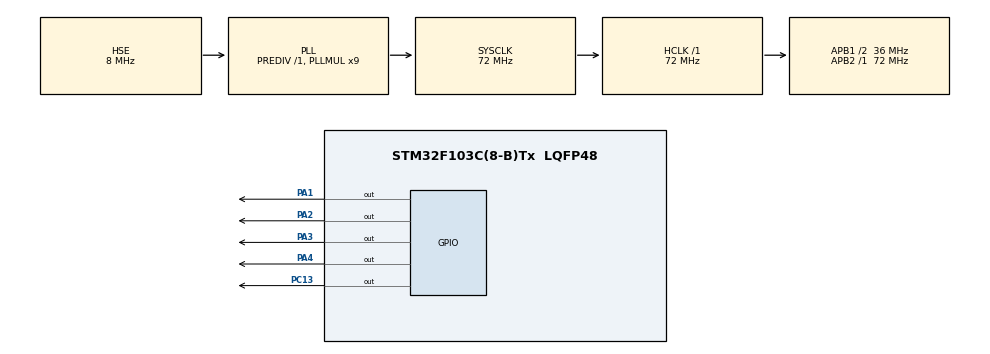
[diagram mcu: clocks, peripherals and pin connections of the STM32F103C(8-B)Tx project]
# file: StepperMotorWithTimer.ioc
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Mcu.Family=STM32F1
Mcu.Name=STM32F103C(8-B)Tx
Mcu.Package=LQFP48
NVIC.PriorityGroup=NVIC_PRIORITYGROUP_4
PA1.GPIO_Speed=GPIO_SPEED_FREQ_HIGH
PA1.Signal=GPIO_Output
PA13.Mode=Serial_Wire
PA13.Signal=SYS_JTMS-SWDIO
PA14.Mode=Serial_Wire
PA14.Signal=SYS_JTCK-SWCLK
PA2.GPIO_Speed=GPIO_SPEED_FREQ_HIGH
PA2.Signal=GPIO_Output
PA3.GPIO_Speed=GPIO_SPEED_FREQ_HIGH
PA3.Signal=GPIO_Output
PA4.GPIO_Speed=GPIO_SPEED_FREQ_HIGH
PA4.Signal=GPIO_Output
PC13-TAMPER-RTC.Signal=GPIO_Output
PD0-OSC_IN.Mode=HSE-External-Oscillator
PD0-OSC_IN.Signal=RCC_OSC_IN
PD1-OSC_OUT.Mode=HSE-External-Oscillator
PD1-OSC_OUT.Signal=RCC_OSC_OUT
ProjectManager.HeapSize=0x200
ProjectManager.StackSize=0x400
ProjectManager.TargetToolchain=STM32CubeIDE
RCC.AHBFreq_Value=72000000
RCC.APB1CLKDivider=RCC_HCLK_DIV2
RCC.APB1Freq_Value=36000000
RCC.APB1TimFreq_Value=72000000
RCC.APB2Freq_Value=72000000
RCC.APB2TimFreq_Value=72000000
RCC.HCLKFreq_Value=72000000
RCC.PLLMUL=RCC_PLL_MUL9
RCC.PLLSourceVirtual=RCC_PLLSOURCE_HSE
RCC.SYSCLKFreq_VALUE=72000000
RCC.SYSCLKSource=RCC_SYSCLKSOURCE_PLLCLK
RCC.USBFreq_Value=72000000
TIM1.Period=0xffff-1
TIM1.Prescaler=72-1
VP_TIM1_VS_ClockSourceINT.Mode=Internal
board=custom

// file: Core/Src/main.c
/* USER CODE BEGIN Header */
/**
  ******************************************************************************
  * @file           : main.c
  * @brief          : Main program body
  ******************************************************************************
  * @attention
  *
  * Copyright (c) 2025 STMicroelectronics.
  * All rights reserved.
  *
  * This software is licensed under terms that can be found in the LICENSE file
  * in the root directory of this software component.
  * If no LICENSE file comes with this software, it is provided AS-IS.
  *
  ******************************************************************************
  */
/* USER CODE END Header */
#include "main.h"

/* USER CODE BEGIN PD */
#define STEPS_PER_REV 4096  /**< Número de pasos por revolución del motor paso a paso */
#define CLOCKWISE 0
#define COUNTER_CLOCKWISE 1
/* USER CODE END PD */

TIM_HandleTypeDef htim1;

void SystemClock_Config(void);
static void MX_GPIO_Init(void);
static void MX_TIM1_Init(void);
/* USER CODE BEGIN PFP */
/**
 * @brief Genera un retardo en microsegundos utilizando el Timer 1.
 *
 * El Timer debe estar previamente iniciado con una configuración de:
 * - Frecuencia de reloj: 72 MHz
 * - Prescaler: 71 (es decir, 72-1)
 * - Periodo: 65534 (es decir, 0xFFFF-1)
 *
 * Cada incremento del contador representa 1 microsegundo.
 *
 * @param us Tiempo del retardo en microsegundos.
 */
void delay(uint16_t us);

/**
 * @brief Configura el tiempo de retardo entre pasos en función de las RPM deseadas.
 * @param rpm Revoluciones por minuto deseadas.
 */
void stepper_set_rpm(int rpm);

/**
 * @brief Activa las bobinas del motor en modo de medio paso (half-step).
 *
 * El medio paso proporciona mayor resolución (8 secuencias por ciclo).
 *
 * @param step Número de paso actual (0 a 7).
 */
void stepper_half_drive(int step);

/**
 * @brief Activa las bobinas del motor en modo de paso completo (full-step).
 *
 * Este modo utiliza 4 pasos por ciclo.
 *
 * @param step Número de paso actual (0 a 3).
 */
void stepper_full_drive(int step);

/**
 * @brief Gira el motor una cantidad específica de grados, en la dirección y velocidad deseadas.
 *
 * Internamente usa el modo half-step (8 pasos por secuencia).
 *
 * @param angle Ángulo a girar en grados.
 * @param direction Dirección del giro (0 = horario, 1 = antihorario).
 * @param rpm Revoluciones por minuto deseadas.
 */
void stepper_step_angle(float angle, int direction, int rpm);

/**
 * @brief Resetea los pines del motor paso a paso a su estado inicial.
 */
void reset_stepper_pins();
/* USER CODE END PFP */

int main(void)
{

  /* MCU Configuration--------------------------------------------------------*/

  /* Reset of all peripherals, Initializes the Flash interface and the Systick. */
  HAL_Init();

  /* Configure the system clock */
  SystemClock_Config();

  /* Initialize all configured peripherals */
  MX_GPIO_Init();
  MX_TIM1_Init();
  /* USER CODE BEGIN 2 */
  HAL_TIM_Base_Start(&htim1);
  reset_stepper_pins();
  /* USER CODE END 2 */

  /* Infinite loop */
  /* USER CODE BEGIN WHILE */
  while (1)
  {

	  // 1. Prueba media vuelta (180 grados) en sentido horario
	  for(int i = 0; i < 512; i++) // 4096 medios pasos para 180 grados
	  {
	      for(int j = 0; j < 8; j++) // Se itera de 0 a 7 (8 pasos)
	      {
	          stepper_half_drive(j);
	          stepper_set_rpm(13);
	      }
	  }
	  reset_stepper_pins();
	  HAL_Delay(1000);

	  // 2. Prueba media vuelta en sentido antihorario (4 pasos)
	  for(int i = 0; i < 512; i++) // 4096 medios pasos para 180 grados
	  {
		  for(int j = 7; j >= 0; j--)
		  {
			  stepper_half_drive(j);
			  stepper_set_rpm(13);
		  }
  	  }
	  reset_stepper_pins();
	  HAL_Delay(1000);

	  // 3. Prueba de ángulo (90° horario)
	  for(int i= 0; i < 4; i++)
	  {
		  stepper_step_angle(90, CLOCKWISE, 13);
		  reset_stepper_pins();
		  HAL_Delay(1000);
	  }

	  // 4. Prueba de ángulo (90° antihorario)
	  for(int i = 0; i < 4; i++)
	  {
		  stepper_step_angle(90, COUNTER_CLOCKWISE, 13);
		  reset_stepper_pins();
		  HAL_Delay(1000);
	  }

	  HAL_Delay(2000);

    /* USER CODE END WHILE */

  }
}

void SystemClock_Config(void)
{
  RCC_OscInitTypeDef RCC_OscInitStruct = {0};
  RCC_ClkInitTypeDef RCC_ClkInitStruct = {0};

  /** Initializes the RCC Oscillators according to the specified parameters
  * in the RCC_OscInitTypeDef structure.
  */
  RCC_OscInitStruct.OscillatorType = RCC_OSCILLATORTYPE_HSE;
  RCC_OscInitStruct.HSEState = RCC_HSE_ON;
  RCC_OscInitStruct.HSEPredivValue = RCC_HSE_PREDIV_DIV1;
  RCC_OscInitStruct.HSIState = RCC_HSI_ON;
  RCC_OscInitStruct.PLL.PLLState = RCC_PLL_ON;
  RCC_OscInitStruct.PLL.PLLSource = RCC_PLLSOURCE_HSE;
  RCC_OscInitStruct.PLL.PLLMUL = RCC_PLL_MUL9;
  if (HAL_RCC_OscConfig(&RCC_OscInitStruct) != HAL_OK)
  {
    Error_Handler();
  }

  /** Initializes the CPU, AHB and APB buses clocks
  */
  RCC_ClkInitStruct.ClockType = RCC_CLOCKTYPE_HCLK|RCC_CLOCKTYPE_SYSCLK
                              |RCC_CLOCKTYPE_PCLK1|RCC_CLOCKTYPE_PCLK2;
  RCC_ClkInitStruct.SYSCLKSource = RCC_SYSCLKSOURCE_PLLCLK;
  RCC_ClkInitStruct.AHBCLKDivider = RCC_SYSCLK_DIV1;
  RCC_ClkInitStruct.APB1CLKDivider = RCC_HCLK_DIV2;
  RCC_ClkInitStruct.APB2CLKDivider = RCC_HCLK_DIV1;

  if (HAL_RCC_ClockConfig(&RCC_ClkInitStruct, FLASH_LATENCY_2) != HAL_OK)
  {
    Error_Handler();
  }
}

static void MX_TIM1_Init(void)
{

  TIM_ClockConfigTypeDef sClockSourceConfig = {0};
  TIM_MasterConfigTypeDef sMasterConfig = {0};

  htim1.Instance = TIM1;
  htim1.Init.Prescaler = 72-1;
  htim1.Init.CounterMode = TIM_COUNTERMODE_UP;
  htim1.Init.Period = 0xffff-1;
  htim1.Init.ClockDivision = TIM_CLOCKDIVISION_DIV1;
  htim1.Init.RepetitionCounter = 0;
  htim1.Init.AutoReloadPreload = TIM_AUTORELOAD_PRELOAD_DISABLE;
  if (HAL_TIM_Base_Init(&htim1) != HAL_OK)
  {
    Error_Handler();
  }
  sClockSourceConfig.ClockSource = TIM_CLOCKSOURCE_INTERNAL;
  if (HAL_TIM_ConfigClockSource(&htim1, &sClockSourceConfig) != HAL_OK)
  {
    Error_Handler();
  }
  sMasterConfig.MasterOutputTrigger = TIM_TRGO_RESET;
  sMasterConfig.MasterSlaveMode = TIM_MASTERSLAVEMODE_DISABLE;
  if (HAL_TIMEx_MasterConfigSynchronization(&htim1, &sMasterConfig) != HAL_OK)
  {
    Error_Handler();
  }

}

static void MX_GPIO_Init(void)
{
  GPIO_InitTypeDef GPIO_InitStruct = {0};

  /* GPIO Ports Clock Enable */
  __HAL_RCC_GPIOC_CLK_ENABLE();
  __HAL_RCC_GPIOD_CLK_ENABLE();
  __HAL_RCC_GPIOA_CLK_ENABLE();

  /*Configure GPIO pin Output Level */
  HAL_GPIO_WritePin(GPIOC, GPIO_PIN_13, GPIO_PIN_RESET);

  /*Configure GPIO pin Output Level */
  HAL_GPIO_WritePin(GPIOA, GPIO_PIN_1|GPIO_PIN_2|GPIO_PIN_3|GPIO_PIN_4, GPIO_PIN_RESET);

  /*Configure GPIO pin : PC13 */
  GPIO_InitStruct.Pin = GPIO_PIN_13;
  GPIO_InitStruct.Mode = GPIO_MODE_OUTPUT_PP;
  GPIO_InitStruct.Pull = GPIO_NOPULL;
  GPIO_InitStruct.Speed = GPIO_SPEED_FREQ_LOW;
  HAL_GPIO_Init(GPIOC, &GPIO_InitStruct);

  /*Configure GPIO pins : PA1 PA2 PA3 PA4 */
  GPIO_InitStruct.Pin = GPIO_PIN_1|GPIO_PIN_2|GPIO_PIN_3|GPIO_PIN_4;
  GPIO_InitStruct.Mode = GPIO_MODE_OUTPUT_PP;
  GPIO_InitStruct.Pull = GPIO_NOPULL;
  GPIO_InitStruct.Speed = GPIO_SPEED_FREQ_HIGH;
  HAL_GPIO_Init(GPIOA, &GPIO_InitStruct);

}

/* USER CODE BEGIN 4 */
/**
 * @brief Genera un retardo en microsegundos utilizando el Timer 1.
 *
 * El Timer debe estar previamente iniciado con una configuración de:
 * - Frecuencia de reloj: 72 MHz
 * - Prescaler: 71 (es decir, 72-1)
 * - Periodo: 65534 (es decir, 0xFFFF-1)
 *
 * Cada incremento del contador representa 1 microsegundo.
 *
 * @param us Tiempo del retardo en microsegundos.
 */
void delay(uint16_t us)
{
	__HAL_TIM_SET_COUNTER(&htim1, 0);
	while(__HAL_TIM_GET_COUNTER(&htim1) < us);
}

/**
 * @brief Configura el tiempo de retardo entre pasos en función de las RPM deseadas.
 * @param rpm Revoluciones por minuto deseadas.
 */
void stepper_set_rpm (int rpm)
{
	delay(60000000/STEPS_PER_REV/rpm);
}

/**
 * @brief Activa las bobinas del motor en modo de medio paso (half-step).
 *
 * El medio paso proporciona mayor resolución (8 secuencias por ciclo).
 *
 * @param step Número de paso actual (0 a 7).
 */
void stepper_half_drive (int step)
{
	if(step < 0 || step > 7) return; // Validación
	switch (step)
	{
		case 0:
			HAL_GPIO_WritePin(GPIOA, GPIO_PIN_1, GPIO_PIN_SET);     // IN1
			HAL_GPIO_WritePin(GPIOA, GPIO_PIN_2, GPIO_PIN_RESET);   // IN2
			HAL_GPIO_WritePin(GPIOA, GPIO_PIN_3, GPIO_PIN_RESET);   // IN3
			HAL_GPIO_WritePin(GPIOA, GPIO_PIN_4, GPIO_PIN_RESET);   // IN4
			break;

		case 1:
			HAL_GPIO_WritePin(GPIOA, GPIO_PIN_1, GPIO_PIN_SET);     // IN1
			HAL_GPIO_WritePin(GPIOA, GPIO_PIN_2, GPIO_PIN_SET);     // IN2
			HAL_GPIO_WritePin(GPIOA, GPIO_PIN_3, GPIO_PIN_RESET);   // IN3
			HAL_GPIO_WritePin(GPIOA, GPIO_PIN_4, GPIO_PIN_RESET);   // IN4
			break;

		case 2:
			HAL_GPIO_WritePin(GPIOA, GPIO_PIN_1, GPIO_PIN_RESET);   // IN1
			HAL_GPIO_WritePin(GPIOA, GPIO_PIN_2, GPIO_PIN_SET);     // IN2
			HAL_GPIO_WritePin(GPIOA, GPIO_PIN_3, GPIO_PIN_RESET);   // IN3
			HAL_GPIO_WritePin(GPIOA, GPIO_PIN_4, GPIO_PIN_RESET);   // IN4
			break;

		case 3:
			HAL_GPIO_WritePin(GPIOA, GPIO_PIN_1, GPIO_PIN_RESET);   // IN1
			HAL_GPIO_WritePin(GPIOA, GPIO_PIN_2, GPIO_PIN_SET);     // IN2
			HAL_GPIO_WritePin(GPIOA, GPIO_PIN_3, GPIO_PIN_SET);     // IN3
			HAL_GPIO_WritePin(GPIOA, GPIO_PIN_4, GPIO_PIN_RESET);   // IN4
			break;

		case 4:
			HAL_GPIO_WritePin(GPIOA, GPIO_PIN_1, GPIO_PIN_RESET);   // IN1
			HAL_GPIO_WritePin(GPIOA, GPIO_PIN_2, GPIO_PIN_RESET);   // IN2
			HAL_GPIO_WritePin(GPIOA, GPIO_PIN_3, GPIO_PIN_SET);     // IN3
			HAL_GPIO_WritePin(GPIOA, GPIO_PIN_4, GPIO_PIN_RESET);   // IN4
			break;

		case 5:
			HAL_GPIO_WritePin(GPIOA, GPIO_PIN_1, GPIO_PIN_RESET);   // IN1
			HAL_GPIO_WritePin(GPIOA, GPIO_PIN_2, GPIO_PIN_RESET);   // IN2
			HAL_GPIO_WritePin(GPIOA, GPIO_PIN_3, GPIO_PIN_SET);     // IN3
			HAL_GPIO_WritePin(GPIOA, GPIO_PIN_4, GPIO_PIN_SET);     // IN4
			break;

		case 6:
			HAL_GPIO_WritePin(GPIOA, GPIO_PIN_1, GPIO_PIN_RESET);   // IN1
			HAL_GPIO_WritePin(GPIOA, GPIO_PIN_2, GPIO_PIN_RESET);   // IN2
			HAL_GPIO_WritePin(GPIOA, GPIO_PIN_3, GPIO_PIN_RESET);   // IN3
			HAL_GPIO_WritePin(GPIOA, GPIO_PIN_4, GPIO_PIN_SET);     // IN4
			break;

		case 7:
			HAL_GPIO_WritePin(GPIOA, GPIO_PIN_1, GPIO_PIN_SET);     // IN1
			HAL_GPIO_WritePin(GPIOA, GPIO_PIN_2, GPIO_PIN_RESET);   // IN2
			HAL_GPIO_WritePin(GPIOA, GPIO_PIN_3, GPIO_PIN_RESET);   // IN3
			HAL_GPIO_WritePin(GPIOA, GPIO_PIN_4, GPIO_PIN_SET);     // IN4
			break;
	}
}

/**
 * @brief Activa las bobinas del motor en modo de paso completo (full-step).
 *
 * Este modo utiliza 4 pasos por ciclo.
 *
 * @param step Número de paso actual (0 a 3).
 */
void stepper_full_drive(int step)
{
	switch(step)
	{
		case 0:
			HAL_GPIO_WritePin(GPIOA, GPIO_PIN_1, GPIO_PIN_SET);	// IN1
			HAL_GPIO_WritePin(GPIOA, GPIO_PIN_2, GPIO_PIN_SET);	// IN2
			HAL_GPIO_WritePin(GPIOA, GPIO_PIN_3, GPIO_PIN_RESET);	// IN3
			HAL_GPIO_WritePin(GPIOA, GPIO_PIN_4, GPIO_PIN_RESET);	// IN4
			break;

		case 1:
			HAL_GPIO_WritePin(GPIOA, GPIO_PIN_1, GPIO_PIN_RESET);	// IN1
			HAL_GPIO_WritePin(GPIOA, GPIO_PIN_2, GPIO_PIN_SET);	// IN2
			HAL_GPIO_WritePin(GPIOA, GPIO_PIN_3, GPIO_PIN_SET);	// IN3
			HAL_GPIO_WritePin(GPIOA, GPIO_PIN_4, GPIO_PIN_RESET);	// IN4
			break;

		case 2:
			HAL_GPIO_WritePin(GPIOA, GPIO_PIN_1, GPIO_PIN_RESET);	// IN1
			HAL_GPIO_WritePin(GPIOA, GPIO_PIN_2, GPIO_PIN_RESET);	// IN2
			HAL_GPIO_WritePin(GPIOA, GPIO_PIN_3, GPIO_PIN_SET);	// IN3
			HAL_GPIO_WritePin(GPIOA, GPIO_PIN_4, GPIO_PIN_SET);	// IN4
			break;

		case 3:
			HAL_GPIO_WritePin(GPIOA, GPIO_PIN_1, GPIO_PIN_SET);	// IN1
			HAL_GPIO_WritePin(GPIOA, GPIO_PIN_2, GPIO_PIN_RESET);	// IN2
			HAL_GPIO_WritePin(GPIOA, GPIO_PIN_3, GPIO_PIN_RESET);	// IN3
			HAL_GPIO_WritePin(GPIOA, GPIO_PIN_4, GPIO_PIN_SET);	// IN4
			break;
	}
}

/**
 * @brief Gira el motor una cantidad específica de grados, en la dirección y velocidad deseadas.
 *
 * Internamente usa el modo half-step (8 pasos por secuencia).
 *
 * @param angle Ángulo a girar en grados.
 * @param direction Dirección del giro (0 = horario, 1 = antihorario).
 * @param rpm Revoluciones por minuto deseadas.
 */
void stepper_step_angle (float angle, int direction, int rpm) //direction-> 0 for CK, 1 for CCK
{
	float anglepersequence = 360.0 / 512.0;
	int numberofsequences = (int) (angle/anglepersequence);

	for (int seq=0; seq<numberofsequences; seq++)
	{
		if (direction == 0)  // for clockwise
		{
			for (int step=7; step>=0; step--)
			{
				stepper_half_drive(step);
				stepper_set_rpm(rpm);
			}
		}
		else if (direction == 1)  // for anti-clockwise
		{
			for (int step=0; step<=7; step++)
			{
				stepper_half_drive(step);
				stepper_set_rpm(rpm);
			}
		}
	}
}

/**
 * @brief Resetea los pines del motor paso a paso a su estado inicial.
 */
void reset_stepper_pins()
{
    HAL_GPIO_WritePin(GPIOA, GPIO_PIN_1|GPIO_PIN_2|GPIO_PIN_3|GPIO_PIN_4, GPIO_PIN_RESET);
}
/* USER CODE END 4 */

void Error_Handler(void)
{
  __disable_irq();
  while (1)
  {
  }
}
